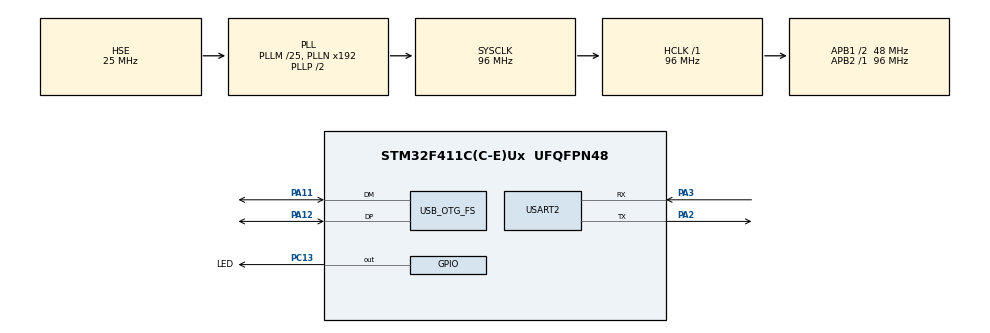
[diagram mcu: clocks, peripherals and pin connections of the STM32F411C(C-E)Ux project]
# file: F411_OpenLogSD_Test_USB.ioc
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Dma.Request0=USART2_TX
Dma.USART2_TX.0.Direction=DMA_MEMORY_TO_PERIPH
Dma.USART2_TX.0.FIFOMode=DMA_FIFOMODE_DISABLE
Dma.USART2_TX.0.Instance=DMA1_Stream6
Dma.USART2_TX.0.MemDataAlignment=DMA_MDATAALIGN_BYTE
Dma.USART2_TX.0.MemInc=DMA_MINC_ENABLE
Dma.USART2_TX.0.Mode=DMA_NORMAL
Dma.USART2_TX.0.PeriphDataAlignment=DMA_PDATAALIGN_BYTE
Dma.USART2_TX.0.PeriphInc=DMA_PINC_DISABLE
Dma.USART2_TX.0.Priority=DMA_PRIORITY_LOW
Mcu.Family=STM32F4
Mcu.Name=STM32F411C(C-E)Ux
Mcu.Package=UFQFPN48
NVIC.DMA1_Stream6_IRQn=true\:0\:0\:false\:false\:true\:false\:true\:true
NVIC.OTG_FS_IRQn=true\:0\:0\:false\:false\:true\:false\:true\:true
NVIC.PriorityGroup=NVIC_PRIORITYGROUP_4
NVIC.TIM4_IRQn=true\:0\:0\:false\:false\:true\:true\:true\:true
NVIC.USART2_IRQn=true\:0\:0\:false\:false\:true\:true\:true\:true
PA11.Mode=Device_Only
PA11.Signal=USB_OTG_FS_DM
PA12.Mode=Device_Only
PA12.Signal=USB_OTG_FS_DP
PA2.Mode=Asynchronous
PA2.Signal=USART2_TX
PA3.Mode=Asynchronous
PA3.Signal=USART2_RX
PC13-ANTI_TAMP.GPIO_Label=LED
PC13-ANTI_TAMP.Signal=GPIO_Output
PC14-OSC32_IN.Mode=LSE-External-Oscillator
PC14-OSC32_IN.Signal=RCC_OSC32_IN
PC15-OSC32_OUT.Mode=LSE-External-Oscillator
PC15-OSC32_OUT.Signal=RCC_OSC32_OUT
PH0\ -\ OSC_IN.Mode=HSE-External-Oscillator
PH0\ -\ OSC_IN.Signal=RCC_OSC_IN
PH1\ -\ OSC_OUT.Mode=HSE-External-Oscillator
PH1\ -\ OSC_OUT.Signal=RCC_OSC_OUT
ProjectManager.HeapSize=0x200
ProjectManager.StackSize=0x400
ProjectManager.TargetToolchain=STM32CubeIDE
RCC.48MHZClocksFreq_Value=48000000
RCC.AHBFreq_Value=96000000
RCC.APB1CLKDivider=RCC_HCLK_DIV2
RCC.APB1Freq_Value=48000000
RCC.APB1TimFreq_Value=96000000
RCC.APB2Freq_Value=96000000
RCC.APB2TimFreq_Value=96000000
RCC.CortexFreq_Value=96000000
RCC.HCLKFreq_Value=96000000
RCC.HSE_VALUE=25000000
RCC.HSI_VALUE=16000000
RCC.PLLM=25
RCC.SYSCLKFreq_VALUE=96000000
RCC.SYSCLKSource=RCC_SYSCLKSOURCE_PLLCLK
RCC.VCOOutputFreq_Value=192000000
TIM4.AutoReloadPreload=TIM_AUTORELOAD_PRELOAD_ENABLE
TIM4.Period=999
TIM4.Prescaler=959
USART2.VirtualMode=VM_ASYNC
USB_DEVICE.CLASS_NAME_FS=CDC
USB_DEVICE.USBD_DEBUG_LEVEL=3
USB_DEVICE.VirtualMode=Cdc
USB_DEVICE.VirtualModeFS=Cdc_FS
USB_OTG_FS.VirtualMode=Device_Only
VP_TIM4_VS_ClockSourceINT.Mode=Internal
VP_USB_DEVICE_VS_USB_DEVICE_CDC_FS.Mode=CDC_FS
board=custom

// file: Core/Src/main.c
/* USER CODE BEGIN Header */
/**
  ******************************************************************************
  * @file           : main.c
  * @brief          : Main program body
  ******************************************************************************
  * @attention
  *
  * Copyright (c) 2023 STMicroelectronics.
  * All rights reserved.
  *
  * This software is licensed under terms that can be found in the LICENSE file
  * in the root directory of this software component.
  * If no LICENSE file comes with this software, it is provided AS-IS.
  *
  ******************************************************************************
  */
/* USER CODE END Header */
#include "main.h"
#include "dma.h"
#include "tim.h"
#include "usart.h"
#include "usb_device.h"
#include "gpio.h"

/* USER CODE BEGIN PV */
volatile uint8_t SD_LOG_RDY = 0;
uint32_t telemetry_msg_cntr = 0;
const uint8_t tele_header[] = "id,temp,pressure\n";
uint8_t recv = 0xCD;
/* USER CODE END PV */

void SystemClock_Config(void);
/* USER CODE BEGIN PFP */

extern uint8_t CDC_Transmit_FS(uint8_t* Buf, uint16_t Len);
/* USER CODE END PFP */

int main(void)
{

  /* MCU Configuration--------------------------------------------------------*/

  /* Reset of all peripherals, Initializes the Flash interface and the Systick. */
  HAL_Init();

  /* Configure the system clock */
  SystemClock_Config();

  /* Initialize all configured peripherals */
  MX_GPIO_Init();
  MX_DMA_Init();
  MX_TIM4_Init();
  MX_USART2_UART_Init();
  MX_USB_DEVICE_Init();
  /* USER CODE BEGIN 2 */
  HAL_TIM_Base_Start_IT(&htim4);
  HAL_Delay(5000);

  HAL_UART_Receive(&huart2, &recv, 1, 100);
  HAL_UART_Transmit_DMA(&huart2, tele_header, sizeof(tele_header));
  HAL_UART_Receive(&huart2, &recv, 1, 100);

  /* USER CODE END 2 */

  /* Infinite loop */
  while (1)
  {

    /* USER CODE BEGIN 3 */
		if(SD_LOG_RDY){

			char s[100] = {0};
			sprintf(s, "%ld,%.2f,%.2f\n", HAL_GetTick(), 12.234f, 32.516f);
			uint8_t len = strlen(s);
			HAL_UART_Transmit_DMA(&huart2, (const uint8_t*) s, len);

			SD_LOG_RDY = 0;
		}
  }
  /* USER CODE END 3 */
}

void SystemClock_Config(void)
{
  RCC_OscInitTypeDef RCC_OscInitStruct = {0};
  RCC_ClkInitTypeDef RCC_ClkInitStruct = {0};

  /** Configure the main internal regulator output voltage
  */
  __HAL_RCC_PWR_CLK_ENABLE();
  __HAL_PWR_VOLTAGESCALING_CONFIG(PWR_REGULATOR_VOLTAGE_SCALE1);

  /** Initializes the RCC Oscillators according to the specified parameters
  * in the RCC_OscInitTypeDef structure.
  */
  RCC_OscInitStruct.OscillatorType = RCC_OSCILLATORTYPE_HSE;
  RCC_OscInitStruct.HSEState = RCC_HSE_ON;
  RCC_OscInitStruct.PLL.PLLState = RCC_PLL_ON;
  RCC_OscInitStruct.PLL.PLLSource = RCC_PLLSOURCE_HSE;
  RCC_OscInitStruct.PLL.PLLM = 25;
  RCC_OscInitStruct.PLL.PLLN = 192;
  RCC_OscInitStruct.PLL.PLLP = RCC_PLLP_DIV2;
  RCC_OscInitStruct.PLL.PLLQ = 4;
  if (HAL_RCC_OscConfig(&RCC_OscInitStruct) != HAL_OK)
  {
    Error_Handler();
  }

  /** Initializes the CPU, AHB and APB buses clocks
  */
  RCC_ClkInitStruct.ClockType = RCC_CLOCKTYPE_HCLK|RCC_CLOCKTYPE_SYSCLK
                              |RCC_CLOCKTYPE_PCLK1|RCC_CLOCKTYPE_PCLK2;
  RCC_ClkInitStruct.SYSCLKSource = RCC_SYSCLKSOURCE_PLLCLK;
  RCC_ClkInitStruct.AHBCLKDivider = RCC_SYSCLK_DIV1;
  RCC_ClkInitStruct.APB1CLKDivider = RCC_HCLK_DIV2;
  RCC_ClkInitStruct.APB2CLKDivider = RCC_HCLK_DIV1;

  if (HAL_RCC_ClockConfig(&RCC_ClkInitStruct, FLASH_LATENCY_3) != HAL_OK)
  {
    Error_Handler();
  }
}

/* USER CODE BEGIN 4 */

int _write(int file, char *ptr, int len) {
    static uint8_t rc = USBD_OK;

    do {
        rc = CDC_Transmit_FS( (uint8_t*) ptr, len);
    } while (USBD_BUSY == rc);

    if (USBD_FAIL == rc) {
        /// NOTE: Should never reach here.
        /// TODO: Handle this error.
        return 0;
    }
    return len;
}

void HAL_TIM_PeriodElapsedCallback(TIM_HandleTypeDef *htim)
{

  if (htim == &htim4 ){
	  static uint8_t Counter_10ms = 1;
	  if (Counter_10ms == 50) {
		  HAL_GPIO_TogglePin(LED_GPIO_Port, LED_Pin);
		  SD_LOG_RDY = 1;
		  Counter_10ms = 0;
	  }

	  Counter_10ms++;

  }
}
/* USER CODE END 4 */

void Error_Handler(void)
{
  __disable_irq();
  while (1)
  {
  }
}
